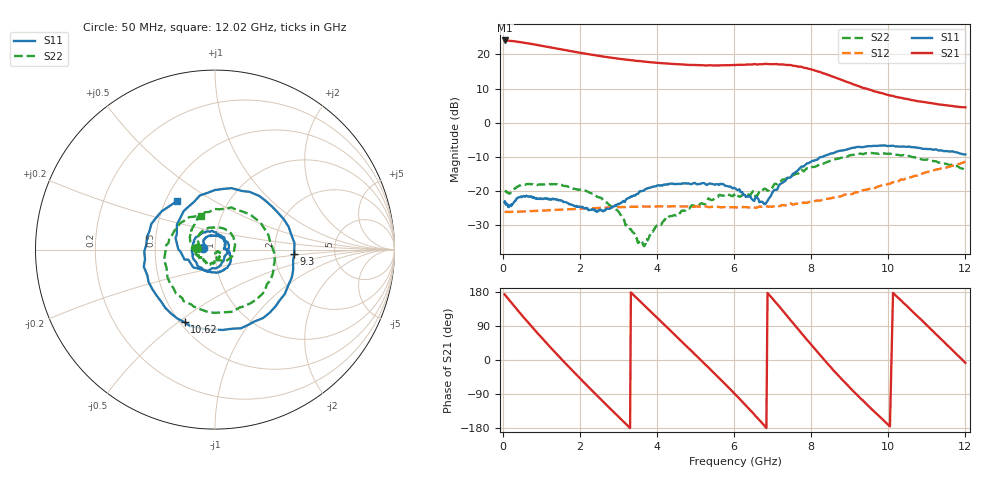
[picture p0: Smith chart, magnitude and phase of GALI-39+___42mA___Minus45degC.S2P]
! Mini-Circuits
! S2P DATA File Format
! Type: MMIC Amplifier
! Model: GALI-39  Reference Data:RDF-1232
! Note: All S Parameters are in dB deg format
! TEST CONDITIONS: INPUT POWER = -25dBm, Icc = 42mA, Vd = 3.82V @Temperature = -45degC
! 401 Frequency points
# MHz S DB R 50
!  FREQ  dB(S11)  PHS(S11)  dB(S21)  PHS(S21)  dB(S12)  PHS(S12)  dB(S22)  PHS(S22)
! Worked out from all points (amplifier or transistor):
!   401 points, 50 MHz to 12.02 GHz, reference 50 ohm
!   highest |S21| = 24.1 dB at 68 MHz (marker M1)
!   |S21| within 3 dB of that: start of sweep to 1.709 GHz
!   unconditionally stable (mu >= 1): start of sweep to end of sweep
!   at 965 MHz: K = 1.06, MAG = 22.7 dB, |S12| = -25.7 dB
!   at 3.31 GHz: K = 1.26, MAG = 18.4 dB, |S12| = -24.6 dB
!   at 12.02 GHz: K = 1.19, MAG = 5.3 dB, |S12| = -11.4 dB
!   S11 on the Smith chart (normalised r, x): 50 MHz: 0.87, +0.01; 9.3 GHz: 2.57, -0.17; 10.62 GHz: 0.53, -0.53; 12.02 GHz: 0.57, +0.35
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50  -23.20 172.9  24.01 173.1  -26.06 -3.9  -19.91 174.7
68  -23.45 173.7  24.05 170.9  -26.07 -5.0  -19.92 173.9
440  -21.77 140.3  23.58 125.0  -25.99 -29.9  -18.33 139.1
775  -21.88 109.7  22.98 85.7  -25.80 -53.2  -17.95 105.6
1105  -22.16 77.3  22.31 48.3  -25.64 -76.7  -18.00 72.5
1385  -22.42 52.9  21.73 17.6  -25.46 -96.9  -17.99 46.9
2050  -24.59 16.9  20.37 -52.9  -25.11 -146.1  -19.63 -14.7
2525  -25.57 6.2  19.51 -101.3  -24.86 177.7  -21.91 -50.7
3100  -23.18 -1.9  18.59 -158.9  -24.64 132.3  -27.56 -80.5
3540  -20.38 -23.2  18.03 157.9  -24.55 96.9  -34.98 -60.3
4050  -18.23 -57.4  17.48 107.6  -24.44 54.2  -29.75 -32.5
4540  -17.85 -96.7  17.09 59.6  -24.44 11.7  -26.69 -56.1
5060  -18.00 -146.3  16.81 8.4  -24.47 -35.4  -24.45 -78.5
6040  -19.18 112.1  16.85 -90.6  -24.72 -128.6  -21.55 -132.8
6920  -22.05 -52.8  17.14 172.4  -24.56 139.2  -19.70 -173.6
7480  -15.98 -159.1  16.87 104.7  -23.57 79.8  -15.48 140.2
8040  -11.16 129.3  15.53 37.0  -23.10 20.9  -12.91 90.1
8660  -8.52 59.3  13.14 -34.3  -21.74 -43.6  -10.59 28.9
9300  -7.08 -3.4  10.48 -101.8  -20.20 -104.3  -9.02 -29.5
10060  -6.78 -65.7  7.96 -175.3  -17.80 -177.7  -9.06 -91.4
10620  -7.16 -112.7  6.64 130.5  -15.88 129.5  -9.98 -136.2
12020  -9.29 127.6  4.50 -7.5  -11.40 -2.1  -13.91 112.8
